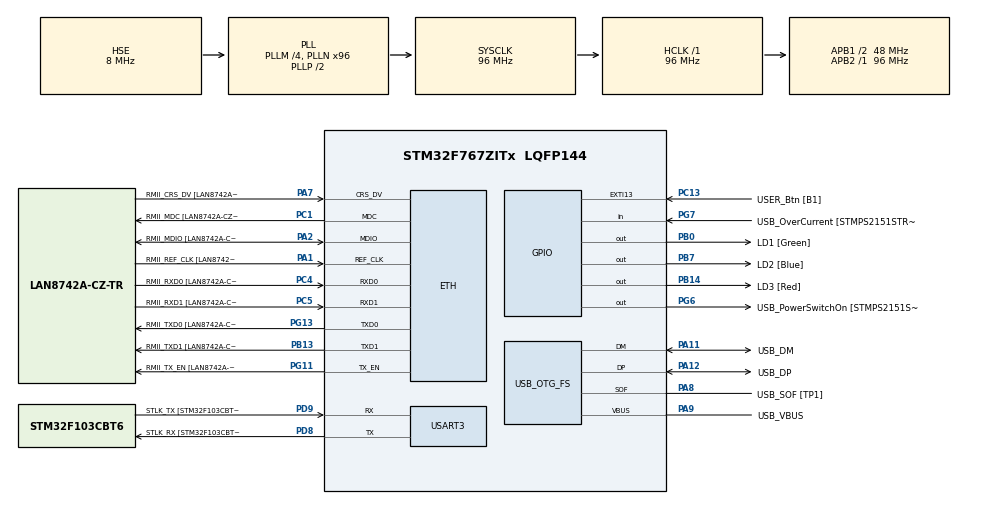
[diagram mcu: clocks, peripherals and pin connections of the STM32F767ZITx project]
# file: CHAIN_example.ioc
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ETH.MediaInterface=HAL_ETH_RMII_MODE
ETH.PHY_Name=LAN8742A_PHY_ADDRESS
ETH.PHY_Value=0
ETH.PhyAddress=0
Mcu.Family=STM32F7
Mcu.Name=STM32F767ZITx
Mcu.Package=LQFP144
NVIC.PriorityGroup=NVIC_PRIORITYGROUP_4
PA1.GPIO_Label=RMII_REF_CLK [LAN8742A-CZ-TR_REFCLK0]
PA1.Mode=RMII
PA1.Signal=ETH_REF_CLK
PA10.GPIO_Label=USB_ID
PA10.Signal=USB_OTG_FS_ID
PA11.GPIO_Label=USB_DM
PA11.Mode=Device_Only
PA11.Signal=USB_OTG_FS_DM
PA12.GPIO_Label=USB_DP
PA12.Mode=Device_Only
PA12.Signal=USB_OTG_FS_DP
PA13.GPIO_Label=TMS
PA13.Mode=Serial_Wire
PA13.Signal=SYS_JTMS-SWDIO
PA14.GPIO_Label=TCK
PA14.Mode=Serial_Wire
PA14.Signal=SYS_JTCK-SWCLK
PA2.GPIO_Label=RMII_MDIO [LAN8742A-CZ-TR_MDIO]
PA2.Mode=RMII
PA2.Signal=ETH_MDIO
PA3.Signal=USART2_RX
PA7.GPIO_Label=RMII_CRS_DV [LAN8742A-CZ-TR_CRS_DV]
PA7.Mode=RMII
PA7.Signal=ETH_CRS_DV
PA8.GPIO_Label=USB_SOF [TP1]
PA8.Mode=Activate_SOF_FS
PA8.Signal=USB_OTG_FS_SOF
PA9.GPIO_Label=USB_VBUS
PA9.Mode=Activate_VBUS
PA9.Signal=USB_OTG_FS_VBUS
PB0.GPIO_Label=LD1 [Green]
PB0.Signal=GPIO_Output
PB13.GPIO_Label=RMII_TXD1 [LAN8742A-CZ-TR_TXD1]
PB13.Mode=RMII
PB13.Signal=ETH_TXD1
PB14.GPIO_Label=LD3 [Red]
PB14.Signal=GPIO_Output
PB3.GPIO_Label=SWO
PB3.Signal=SYS_JTDO-SWO
PB7.GPIO_Label=LD2 [Blue]
PB7.Signal=GPIO_Output
PC1.GPIO_Label=RMII_MDC [LAN8742A-CZ-TR_MDC]
PC1.Mode=RMII
PC1.Signal=ETH_MDC
PC13.GPIO_Label=USER_Btn [B1]
PC13.Signal=GPXTI13
PC14/OSC32_IN.Mode=LSE-External-Oscillator
PC14/OSC32_IN.Signal=RCC_OSC32_IN
PC15/OSC32_OUT.Mode=LSE-External-Oscillator
PC15/OSC32_OUT.Signal=RCC_OSC32_OUT
PC4.GPIO_Label=RMII_RXD0 [LAN8742A-CZ-TR_RXD0]
PC4.Mode=RMII
PC4.Signal=ETH_RXD0
PC5.GPIO_Label=RMII_RXD1 [LAN8742A-CZ-TR_RXD1]
PC5.Mode=RMII
PC5.Signal=ETH_RXD1
PD8.GPIO_Label=STLK_RX [STM32F103CBT6_PA3]
PD8.Mode=Asynchronous
PD8.Signal=USART3_TX
PD9.GPIO_Label=STLK_TX [STM32F103CBT6_PA2]
PD9.Mode=Asynchronous
PD9.Signal=USART3_RX
PG11.GPIO_Label=RMII_TX_EN [LAN8742A-CZ-TR_TXEN]
PG11.Mode=RMII
PG11.Signal=ETH_TX_EN
PG13.GPIO_Label=RMII_TXD0 [LAN8742A-CZ-TR_TXD0]
PG13.Mode=RMII
PG13.Signal=ETH_TXD0
PG6.GPIO_Label=USB_PowerSwitchOn [STMPS2151STR_EN]
PG6.Signal=GPIO_Output
PG7.GPIO_Label=USB_OverCurrent [STMPS2151STR_FAULT]
PG7.Signal=GPIO_Input
PH0/OSC_IN.GPIO_Label=MCO [STM32F103CBT6_PA8]
PH0/OSC_IN.Mode=HSE-External-Clock-Source
PH0/OSC_IN.Signal=RCC_OSC_IN
PH1/OSC_OUT.Mode=HSE-External-Clock-Source
PH1/OSC_OUT.Signal=RCC_OSC_OUT
ProjectManager.HeapSize=0x200
ProjectManager.StackSize=0x400
ProjectManager.TargetToolchain=STM32CubeIDE
RCC.48MHZClocksFreq_Value=24000000
RCC.AHBFreq_Value=96000000
RCC.APB1CLKDivider=RCC_HCLK_DIV2
RCC.APB1Freq_Value=48000000
RCC.APB1TimFreq_Value=96000000
RCC.APB2Freq_Value=96000000
RCC.APB2TimFreq_Value=96000000
RCC.CortexFreq_Value=96000000
RCC.HCLKFreq_Value=96000000
RCC.HSE_VALUE=8000000
RCC.HSI_VALUE=16000000
RCC.PLLM=4
RCC.PLLMUL=RCC_PLL_MUL9
RCC.PLLN=96
RCC.PLLQ=4
RCC.PRESCALERUSB=RCC_USBCLKSOURCE_PLL_DIV1_5
RCC.SYSCLKFreq_VALUE=96000000
RCC.SYSCLKSource=RCC_SYSCLKSOURCE_PLLCLK
RCC.SYSCLKSourceVirtual=RCC_SYSCLKSOURCE_PLLCLK
RCC.USBFreq_Value=48000000
RCC.VCOOutputFreq_Value=192000000
USART3.VirtualMode-Asynchronous=VM_ASYNC
USB_OTG_FS.VirtualMode=Device_Only
board=NUCLEO-F767ZI

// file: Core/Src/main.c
/* USER CODE BEGIN Header */
/**
  ******************************************************************************
  * @file           : main.c
  * @brief          : Main program body
  ******************************************************************************
  * @attention
  *
  * Copyright (c) 2025 STMicroelectronics.
  * All rights reserved.
  *
  * This software is licensed under terms that can be found in the LICENSE file
  * in the root directory of this software component.
  * If no LICENSE file comes with this software, it is provided AS-IS.
  *
  ******************************************************************************
  */
/* USER CODE END Header */
#include "main.h"
#include "string.h"

/* USER CODE BEGIN Includes */
#include "arm_math.h"
/* USER CODE END Includes */

/* USER CODE BEGIN PD */
#define N 4
/* USER CODE END PD */

#if defined ( __ICCARM__ ) /*!< IAR Compiler */
#pragma location=0x2007c000
ETH_DMADescTypeDef  DMARxDscrTab[ETH_RX_DESC_CNT]; /* Ethernet Rx DMA Descriptors */
#pragma location=0x2007c0a0
ETH_DMADescTypeDef  DMATxDscrTab[ETH_TX_DESC_CNT]; /* Ethernet Tx DMA Descriptors */

#elif defined ( __CC_ARM )  /* MDK ARM Compiler */

__attribute__((at(0x2007c000))) ETH_DMADescTypeDef  DMARxDscrTab[ETH_RX_DESC_CNT]; /* Ethernet Rx DMA Descriptors */
__attribute__((at(0x2007c0a0))) ETH_DMADescTypeDef  DMATxDscrTab[ETH_TX_DESC_CNT]; /* Ethernet Tx DMA Descriptors */

#elif defined ( __GNUC__ ) /* GNU Compiler */

ETH_DMADescTypeDef DMARxDscrTab[ETH_RX_DESC_CNT] __attribute__((section(".RxDecripSection"))); /* Ethernet Rx DMA Descriptors */
ETH_DMADescTypeDef DMATxDscrTab[ETH_TX_DESC_CNT] __attribute__((section(".TxDecripSection")));   /* Ethernet Tx DMA Descriptors */
#endif

ETH_TxPacketConfig TxConfig;

ETH_HandleTypeDef heth;

UART_HandleTypeDef huart3;

PCD_HandleTypeDef hpcd_USB_OTG_FS;

void SystemClock_Config(void);
static void MX_GPIO_Init(void);
static void MX_ETH_Init(void);
static void MX_USART3_UART_Init(void);
static void MX_USB_OTG_FS_PCD_Init(void);

/* USER CODE BEGIN 0 */
float32_t S_data[N*N] = { 1.0f, 2.0f, 3.0f, 4.0f,
						  5.0f, 6.0f, 7.0f, 8.0f,
						  9.0f, 10.0f, 11.0f, 12.0f,
						  13.0f, 14.0f, 15.0f, 16.0f};
float32_t D_data[N*N] = { 1.0f, 2.0f, 3.0f, 4.0f,
						  5.0f, 6.0f, 7.0f, 8.0f,
						  9.0f, 10.0f, 11.0f, 12.0f,
						  13.0f, 14.0f, 15.0f, 16.0f};

float32_t y[N] = {0};
float32_t x[N] = {0};
float32_t x_sp[N] = {1.0f, 0.5f, -0.5f, 0.0f};
float32_t e[N] = {0};
float32_t u_pid[N] = {0};
float32_t u[N] = {0};
float32_t u_ramp[N] = {0}; // Valori attuali inviati agli attuatori (inizialmente a zero)
float32_t ramp_step = 0.01f; // Passo massimo per ogni ciclo

arm_matrix_instance_f32 S, D;
arm_matrix_instance_f32 y_vec, x_vec, u_pid_vec, u_vec;
/* USER CODE END 0 */

int main(void)
{

  /* USER CODE BEGIN 1 */
  float32_t k_p = 0.1f;
  /* USER CODE END 1 */

  /* MCU Configuration--------------------------------------------------------*/

  /* Reset of all peripherals, Initializes the Flash interface and the Systick. */
  HAL_Init();

  /* USER CODE BEGIN Init */
  arm_mat_init_f32(&S, N, N, S_data);
  arm_mat_init_f32(&D, N, N, D_data);
  arm_mat_init_f32(&y_vec, N, 1, y);
  arm_mat_init_f32(&x_vec, N, 1, x);
  arm_mat_init_f32(&u_pid_vec, N, 1, u_pid);
  arm_mat_init_f32(&u_vec, N, 1, u);
  /* USER CODE END Init */

  /* Configure the system clock */
  SystemClock_Config();

  /* Initialize all configured peripherals */
  MX_GPIO_Init();
  MX_ETH_Init();
  MX_USART3_UART_Init();
  MX_USB_OTG_FS_PCD_Init();

  /* Infinite loop */
  /* USER CODE BEGIN WHILE */
  while (1)
  {
	    y[0] = 1.0f; // Leggi sensore 1
	    y[1] = 2.0f; // Leggi sensore 2
	    y[2] = 3.0f; // Leggi sensore 3
	    y[3] = 4.0f; // Leggi sensore 4

	    arm_mat_mult_f32(&S, &y_vec, &x_vec);  // Sensing = S * y

	    for (int i = 0; i < N; i++)
	        e[i] = x_sp[i] - x[i]; // Distance from set point

	    u_pid[0] = k_p * e[0];
	    u_pid[1] = k_p * e[1];
	    u_pid[2] = k_p * e[2];
	    u_pid[3] = k_p * e[3];  // Simulated PID with proportional response

	    arm_mat_mult_f32(&D, &u_pid_vec, &u_vec); // Driving u = D*u_pid

	    for (int i = 0; i < N; i++) {
	        float32_t diff = u[i] - u_ramp[i];
	        if (diff > ramp_step)
	            u_ramp[i] += ramp_step;
	        else if (diff < -ramp_step)
	            u_ramp[i] -= ramp_step;
	        else
	            u_ramp[i] = u[i]; // Se la differenza è piccola, vai direttamente al target
	    }

	    // set_actuator_1(u_ramp[0]);
	    // set_actuator_2(u_ramp[1]);
	    // set_actuator_3(u_ramp[2]);
	    // set_actuator_4(u_ramp[3]); // Simulated send to actuator

	    HAL_Delay(10); // Maybe we need a delay
    /* USER CODE END WHILE */

  }
}

void SystemClock_Config(void)
{
  RCC_OscInitTypeDef RCC_OscInitStruct = {0};
  RCC_ClkInitTypeDef RCC_ClkInitStruct = {0};

  /** Configure LSE Drive Capability
  */
  HAL_PWR_EnableBkUpAccess();

  /** Configure the main internal regulator output voltage
  */
  __HAL_RCC_PWR_CLK_ENABLE();
  __HAL_PWR_VOLTAGESCALING_CONFIG(PWR_REGULATOR_VOLTAGE_SCALE3);

  /** Initializes the RCC Oscillators according to the specified parameters
  * in the RCC_OscInitTypeDef structure.
  */
  RCC_OscInitStruct.OscillatorType = RCC_OSCILLATORTYPE_HSE;
  RCC_OscInitStruct.HSEState = RCC_HSE_BYPASS;
  RCC_OscInitStruct.PLL.PLLState = RCC_PLL_ON;
  RCC_OscInitStruct.PLL.PLLSource = RCC_PLLSOURCE_HSE;
  RCC_OscInitStruct.PLL.PLLM = 4;
  RCC_OscInitStruct.PLL.PLLN = 96;
  RCC_OscInitStruct.PLL.PLLP = RCC_PLLP_DIV2;
  RCC_OscInitStruct.PLL.PLLQ = 4;
  RCC_OscInitStruct.PLL.PLLR = 2;
  if (HAL_RCC_OscConfig(&RCC_OscInitStruct) != HAL_OK)
  {
    Error_Handler();
  }

  /** Activate the Over-Drive mode
  */
  if (HAL_PWREx_EnableOverDrive() != HAL_OK)
  {
    Error_Handler();
  }

  /** Initializes the CPU, AHB and APB buses clocks
  */
  RCC_ClkInitStruct.ClockType = RCC_CLOCKTYPE_HCLK|RCC_CLOCKTYPE_SYSCLK
                              |RCC_CLOCKTYPE_PCLK1|RCC_CLOCKTYPE_PCLK2;
  RCC_ClkInitStruct.SYSCLKSource = RCC_SYSCLKSOURCE_PLLCLK;
  RCC_ClkInitStruct.AHBCLKDivider = RCC_SYSCLK_DIV1;
  RCC_ClkInitStruct.APB1CLKDivider = RCC_HCLK_DIV2;
  RCC_ClkInitStruct.APB2CLKDivider = RCC_HCLK_DIV1;

  if (HAL_RCC_ClockConfig(&RCC_ClkInitStruct, FLASH_LATENCY_3) != HAL_OK)
  {
    Error_Handler();
  }
}

static void MX_ETH_Init(void)
{

   static uint8_t MACAddr[6];

  heth.Instance = ETH;
  MACAddr[0] = 0x00;
  MACAddr[1] = 0x80;
  MACAddr[2] = 0xE1;
  MACAddr[3] = 0x00;
  MACAddr[4] = 0x00;
  MACAddr[5] = 0x00;
  heth.Init.MACAddr = &MACAddr[0];
  heth.Init.MediaInterface = HAL_ETH_RMII_MODE;
  heth.Init.TxDesc = DMATxDscrTab;
  heth.Init.RxDesc = DMARxDscrTab;
  heth.Init.RxBuffLen = 1524;

  if (HAL_ETH_Init(&heth) != HAL_OK)
  {
    Error_Handler();
  }

  memset(&TxConfig, 0 , sizeof(ETH_TxPacketConfig));
  TxConfig.Attributes = ETH_TX_PACKETS_FEATURES_CSUM | ETH_TX_PACKETS_FEATURES_CRCPAD;
  TxConfig.ChecksumCtrl = ETH_CHECKSUM_IPHDR_PAYLOAD_INSERT_PHDR_CALC;
  TxConfig.CRCPadCtrl = ETH_CRC_PAD_INSERT;

}

static void MX_USART3_UART_Init(void)
{

  huart3.Instance = USART3;
  huart3.Init.BaudRate = 115200;
  huart3.Init.WordLength = UART_WORDLENGTH_8B;
  huart3.Init.StopBits = UART_STOPBITS_1;
  huart3.Init.Parity = UART_PARITY_NONE;
  huart3.Init.Mode = UART_MODE_TX_RX;
  huart3.Init.HwFlowCtl = UART_HWCONTROL_NONE;
  huart3.Init.OverSampling = UART_OVERSAMPLING_16;
  huart3.Init.OneBitSampling = UART_ONE_BIT_SAMPLE_DISABLE;
  huart3.AdvancedInit.AdvFeatureInit = UART_ADVFEATURE_NO_INIT;
  if (HAL_UART_Init(&huart3) != HAL_OK)
  {
    Error_Handler();
  }

}

static void MX_USB_OTG_FS_PCD_Init(void)
{

  hpcd_USB_OTG_FS.Instance = USB_OTG_FS;
  hpcd_USB_OTG_FS.Init.dev_endpoints = 6;
  hpcd_USB_OTG_FS.Init.speed = PCD_SPEED_FULL;
  hpcd_USB_OTG_FS.Init.dma_enable = DISABLE;
  hpcd_USB_OTG_FS.Init.phy_itface = PCD_PHY_EMBEDDED;
  hpcd_USB_OTG_FS.Init.Sof_enable = ENABLE;
  hpcd_USB_OTG_FS.Init.low_power_enable = DISABLE;
  hpcd_USB_OTG_FS.Init.lpm_enable = DISABLE;
  hpcd_USB_OTG_FS.Init.vbus_sensing_enable = ENABLE;
  hpcd_USB_OTG_FS.Init.use_dedicated_ep1 = DISABLE;
  if (HAL_PCD_Init(&hpcd_USB_OTG_FS) != HAL_OK)
  {
    Error_Handler();
  }

}

static void MX_GPIO_Init(void)
{
  GPIO_InitTypeDef GPIO_InitStruct = {0};

  /* GPIO Ports Clock Enable */
  __HAL_RCC_GPIOC_CLK_ENABLE();
  __HAL_RCC_GPIOH_CLK_ENABLE();
  __HAL_RCC_GPIOA_CLK_ENABLE();
  __HAL_RCC_GPIOB_CLK_ENABLE();
  __HAL_RCC_GPIOD_CLK_ENABLE();
  __HAL_RCC_GPIOG_CLK_ENABLE();

  /*Configure GPIO pin Output Level */
  HAL_GPIO_WritePin(GPIOB, LD1_Pin|LD3_Pin|LD2_Pin, GPIO_PIN_RESET);

  /*Configure GPIO pin Output Level */
  HAL_GPIO_WritePin(USB_PowerSwitchOn_GPIO_Port, USB_PowerSwitchOn_Pin, GPIO_PIN_RESET);

  /*Configure GPIO pin : USER_Btn_Pin */
  GPIO_InitStruct.Pin = USER_Btn_Pin;
  GPIO_InitStruct.Mode = GPIO_MODE_IT_RISING;
  GPIO_InitStruct.Pull = GPIO_NOPULL;
  HAL_GPIO_Init(USER_Btn_GPIO_Port, &GPIO_InitStruct);

  /*Configure GPIO pin : PA3 */
  GPIO_InitStruct.Pin = GPIO_PIN_3;
  GPIO_InitStruct.Mode = GPIO_MODE_AF_PP;
  GPIO_InitStruct.Pull = GPIO_NOPULL;
  GPIO_InitStruct.Speed = GPIO_SPEED_FREQ_VERY_HIGH;
  GPIO_InitStruct.Alternate = GPIO_AF7_USART2;
  HAL_GPIO_Init(GPIOA, &GPIO_InitStruct);

  /*Configure GPIO pins : LD1_Pin LD3_Pin LD2_Pin */
  GPIO_InitStruct.Pin = LD1_Pin|LD3_Pin|LD2_Pin;
  GPIO_InitStruct.Mode = GPIO_MODE_OUTPUT_PP;
  GPIO_InitStruct.Pull = GPIO_NOPULL;
  GPIO_InitStruct.Speed = GPIO_SPEED_FREQ_LOW;
  HAL_GPIO_Init(GPIOB, &GPIO_InitStruct);

  /*Configure GPIO pin : USB_PowerSwitchOn_Pin */
  GPIO_InitStruct.Pin = USB_PowerSwitchOn_Pin;
  GPIO_InitStruct.Mode = GPIO_MODE_OUTPUT_PP;
  GPIO_InitStruct.Pull = GPIO_NOPULL;
  GPIO_InitStruct.Speed = GPIO_SPEED_FREQ_LOW;
  HAL_GPIO_Init(USB_PowerSwitchOn_GPIO_Port, &GPIO_InitStruct);

  /*Configure GPIO pin : USB_OverCurrent_Pin */
  GPIO_InitStruct.Pin = USB_OverCurrent_Pin;
  GPIO_InitStruct.Mode = GPIO_MODE_INPUT;
  GPIO_InitStruct.Pull = GPIO_NOPULL;
  HAL_GPIO_Init(USB_OverCurrent_GPIO_Port, &GPIO_InitStruct);

}

void Error_Handler(void)
{
  __disable_irq();
  while (1)
  {
  }
}
